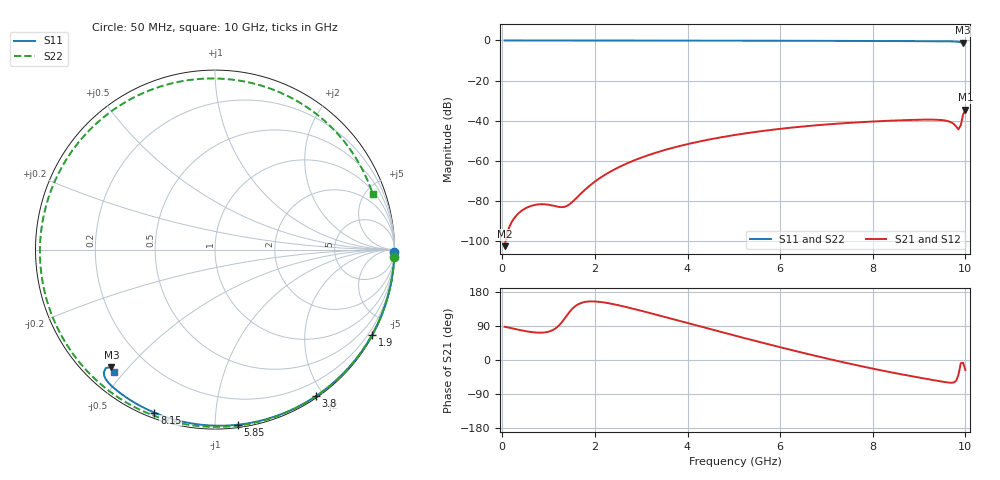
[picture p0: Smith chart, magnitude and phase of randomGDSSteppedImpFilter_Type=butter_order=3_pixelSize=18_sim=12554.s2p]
! freq	dB(S11)	phase(S11)	dB(S12)	phase(S12)
!  dB(S21)	phase(S21)	dB(S22)	phase(S22)
!S-par simulation data
#  GHz  S  DB  R 50
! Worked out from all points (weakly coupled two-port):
!   200 points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, 50 MHz to 10 GHz, reference 50 ohm
!   highest |S21| = -34.58 dB at 10 GHz (marker M1); lowest = -102.7 dB at 50 MHz (marker M2)
!   lowest |S11| = -1.2 dB at 9.95 GHz (marker M3), VSWR 14.71, Z = 4.09 - j22.4 ohm
!   |S11| at or under -10 dB: nowhere
!   |S22| runs from -0.6 to 0.0 dB; largest |S21 - S12| = 0
!   S11 on the Smith chart (normalised r, x): 50 MHz: open; 1.9 GHz: 0.03, -3.95; 3.8 GHz: 0.02, -1.90; 5.85 GHz: 0.02, -1.14; 8.15 GHz: 0.02, -0.69; 10 GHz: 0.07, -0.47
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0.05  -0.00 -0.8  -102.73 87.7  -102.73 87.7  -0.00 -2.3
0.7  -0.01 -10.6  -82.16 72.7  -82.16 72.7  -0.04 -31.5
1.5  -0.03 -22.5  -80.91 133.7  -80.91 133.7  -0.08 -65.5
1.75  -0.03 -26.2  -75.33 152.2  -75.33 152.2  -0.09 -75.4
1.9  -0.04 -28.4  -72.29 154.6  -72.29 154.6  -0.10 -81.2
2.55  -0.05 -37.8  -62.90 143.4  -62.90 143.4  -0.12 -104.9
3.4  -0.07 -49.9  -55.45 117.1  -55.45 117.1  -0.15 -133.0
3.8  -0.08 -55.4  -52.90 104.0  -52.90 104.0  -0.16 -145.3
4.4  -0.09 -63.6  -49.78 84.4  -49.78 84.4  -0.19 -163.1
5.05  -0.11 -72.2  -47.10 63.5  -47.10 63.5  -0.22 178.2
5.85  -0.14 -82.5  -44.55 38.3  -44.55 38.3  -0.26 155.4
6.7  -0.18 -93.0  -42.53 12.8  -42.53 12.8  -0.32 130.5
7.45  -0.22 -102.1  -41.22 -8.4  -41.22 -8.4  -0.37 107.4
8.15  -0.27 -110.4  -40.31 -26.6  -40.31 -26.6  -0.43 84.6
8.35  -0.29 -112.7  -40.10 -31.5  -40.10 -31.5  -0.44 77.9
8.9  -0.33 -119.2  -39.64 -44.1  -39.64 -44.1  -0.49 58.8
9.5  -0.41 -126.5  -39.79 -57.2  -39.79 -57.2  -0.56 37.5
9.7  -0.47 -129.4  -40.95 -60.1  -40.95 -60.1  -0.58 30.3
9.85  -0.70 -132.2  -44.40 -39.3  -44.40 -39.3  -0.60 24.9
9.9  -0.94 -132.7  -42.41 -8.7  -42.41 -8.7  -0.60 23.1
9.95  -1.18 -131.4  -37.05 -7.2  -37.05 -7.2  -0.61 21.2
10  -1.06 -129.6  -34.58 -26.2  -34.58 -26.2  -0.61 19.4
